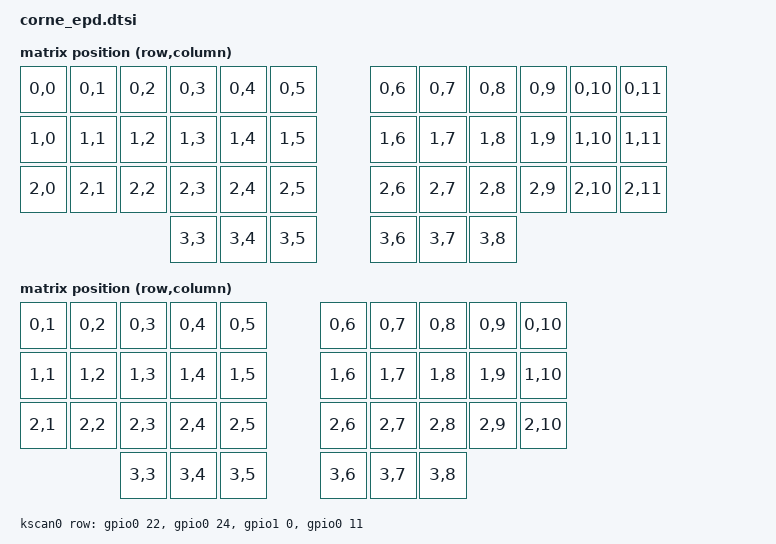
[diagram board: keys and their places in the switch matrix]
/*
 * corne_epd shield: Corne 3x6 PCB with 1.02" IL0323 e-paper and WS2812
 * underglow, on a nice!nano-compatible controller (board: nice_nano_v2).
 * The board supplies battery sensing (VDDH), ext-power (P0.13), DC/DC and
 * flash layout. Pins verified against the 52840NANO controller silkscreen.
 *
 * SPDX-License-Identifier: MIT
 */

#include <dt-bindings/zmk/matrix_transform.h>
#include <dt-bindings/led/led.h>
#include <layouts/foostan/corne/5column.dtsi>
#include <layouts/foostan/corne/6column.dtsi>

&foostan_corne_6col_layout {
    transform = <&default_transform>;
};

&foostan_corne_5col_layout {
    transform = <&five_column_transform>;
};

/ {
    chosen {
        zmk,kscan = &kscan0;
        zephyr,display = &epd;
        zmk,display = &epd;
        zmk,underglow = &led_strip;
        zmk,physical-layout = &foostan_corne_6col_layout;
        zephyr,console = &cdc_acm_uart;
    };

    default_transform: keymap_transform_0 {
        compatible = "zmk,matrix-transform";
        columns = <12>;
        rows = <4>;

            // | SW1  | SW2  | SW3  | SW4  | SW5  | SW6  |   | SW6  | SW5  | SW4  | SW3  | SW2  | SW1  |
            // | SW7  | SW8  | SW9  | SW10 | SW11 | SW12 |   | SW12 | SW11 | SW10 | SW9  | SW8  | SW7  |
            // | SW13 | SW14 | SW15 | SW16 | SW17 | SW18 |   | SW18 | SW17 | SW16 | SW15 | SW14 | SW13 |
            //                      | SW19 | SW20 | SW21 |   | SW21 | SW20 | SW19 |
                    map = <
            RC(0,0) RC(0,1) RC(0,2) RC(0,3) RC(0,4) RC(0,5)  RC(0,6) RC(0,7) RC(0,8) RC(0,9) RC(0,10) RC(0,11)
            RC(1,0) RC(1,1) RC(1,2) RC(1,3) RC(1,4) RC(1,5)  RC(1,6) RC(1,7) RC(1,8) RC(1,9) RC(1,10) RC(1,11)
            RC(2,0) RC(2,1) RC(2,2) RC(2,3) RC(2,4) RC(2,5)  RC(2,6) RC(2,7) RC(2,8) RC(2,9) RC(2,10) RC(2,11)
                                    RC(3,3) RC(3,4) RC(3,5)  RC(3,6) RC(3,7) RC(3,8)
        >;
    };

    five_column_transform: keymap_transform_1 {
        compatible = "zmk,matrix-transform";
        columns = <10>;
        rows = <4>;

            // | SW2  | SW3  | SW4  | SW5  | SW6  |   | SW6  | SW5  | SW4  | SW3  | SW2  |
            // | SW8  | SW9  | SW10 | SW11 | SW12 |   | SW12 | SW11 | SW10 | SW9  | SW8  |
            // | SW14 | SW15 | SW16 | SW17 | SW18 |   | SW18 | SW17 | SW16 | SW15 | SW14 |
            //               | SW19 | SW20 | SW21 |   | SW21 | SW20 | SW19 |
        map = <
            RC(0,1) RC(0,2) RC(0,3) RC(0,4) RC(0,5)  RC(0,6) RC(0,7) RC(0,8) RC(0,9) RC(0,10)
            RC(1,1) RC(1,2) RC(1,3) RC(1,4) RC(1,5)  RC(1,6) RC(1,7) RC(1,8) RC(1,9) RC(1,10)
            RC(2,1) RC(2,2) RC(2,3) RC(2,4) RC(2,5)  RC(2,6) RC(2,7) RC(2,8) RC(2,9) RC(2,10)
                            RC(3,3) RC(3,4) RC(3,5)  RC(3,6) RC(3,7) RC(3,8)
        >;
    };


    kscan0: kscan {
        compatible = "zmk,kscan-gpio-matrix";
        wakeup-source;
        diode-direction = "col2row";
        row-gpios
            = <&gpio0 22 (GPIO_ACTIVE_HIGH | GPIO_PULL_DOWN)>
            , <&gpio0 24 (GPIO_ACTIVE_HIGH | GPIO_PULL_DOWN)>
            , <&gpio1  0 (GPIO_ACTIVE_HIGH | GPIO_PULL_DOWN)>
            , <&gpio0 11 (GPIO_ACTIVE_HIGH | GPIO_PULL_DOWN)>
            ;
        /* col-gpios are set per half */
    };


};

&pinctrl {
    spi0_default: spi0_default {
        group1 {
            psels = <NRF_PSEL(SPIM_SCK, 0, 20)>,
                <NRF_PSEL(SPIM_MOSI, 0, 17)>,
                <NRF_PSEL(SPIM_MISO, 0, 5)>;
        };
    };

    spi0_sleep: spi0_sleep {
        group1 {
            psels = <NRF_PSEL(SPIM_SCK, 0, 20)>,
                <NRF_PSEL(SPIM_MOSI, 0, 17)>,
                <NRF_PSEL(SPIM_MISO, 0, 5)>;
            low-power-enable;
        };
    };

    spi3_default: spi3_default {
        group1 {
            psels = <NRF_PSEL(SPIM_MOSI, 0, 6)>; /* WS2812 data */
        };
    };

    spi3_sleep: spi3_sleep {
        group1 {
            psels = <NRF_PSEL(SPIM_MOSI, 0, 6)>;
            low-power-enable;
        };
    };
};

&spi0 {
    status = "okay";
    compatible = "nordic,nrf-spim";
    pinctrl-0 = <&spi0_default>;
    pinctrl-1 = <&spi0_sleep>;
    pinctrl-names = "default", "sleep";
    cs-gpios = <&gpio0 10 GPIO_ACTIVE_LOW>;

    /* 1.02" e-paper, Good Display GDEW0102T4 / Waveshare WFT0102CZA2 */
    epd: il0323@0 {
        compatible = "gooddisplay,il0323";
        reg = <0>;
        width = <80>;
        height = <128>;
        spi-max-frequency = <4000000>;
        dc-gpios = <&gpio0 9 GPIO_ACTIVE_LOW>;
        busy-gpios = <&gpio1 6 GPIO_ACTIVE_LOW>;
        reset-gpios = <&gpio1 4 GPIO_ACTIVE_LOW>;
        pwr = [03 00 26 26];
        cdi = <0xd2>;
        tcon = <0x22>;
    };
};

&spi3 {
    compatible = "nordic,nrf-spim";
    status = "okay";
    pinctrl-0 = <&spi3_default>;
    pinctrl-1 = <&spi3_sleep>;
    pinctrl-names = "default", "sleep";

    led_strip: ws2812@0 {
        compatible = "worldsemi,ws2812-spi";
        reg = <0>; /* ignored, but necessary for SPI bindings */
        spi-max-frequency = <4000000>;
        chain-length = <21>; /* one LED per key, 21 per half */
        spi-one-frame = <0x70>;
        spi-zero-frame = <0x40>;
        color-mapping = <LED_COLOR_ID_GREEN LED_COLOR_ID_RED LED_COLOR_ID_BLUE>;
    };
};

&zephyr_udc0 {
    cdc_acm_uart: cdc_acm_uart {
        compatible = "zephyr,cdc-acm-uart";
    };
};
